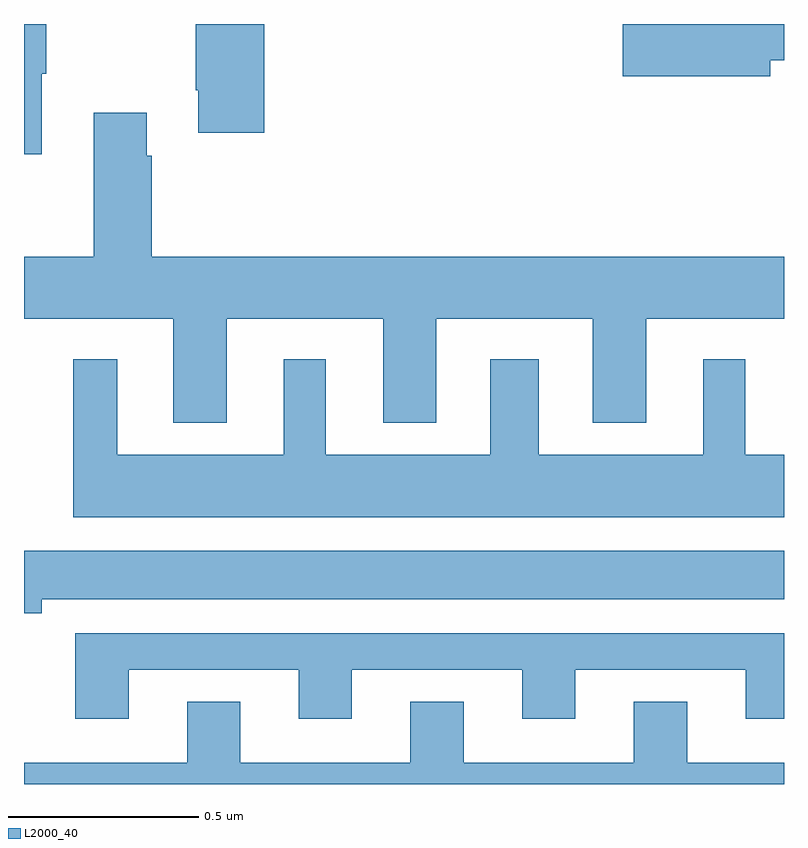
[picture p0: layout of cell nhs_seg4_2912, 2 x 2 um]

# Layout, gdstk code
import gdstk
lib = gdstk.Library(unit=1e-6, precision=1e-09)
def P(c, l, *ps):  # polygons
    for p in ps: c.add(gdstk.Polygon(p, *l))
L2000_40 = (2000, 40)

nhs_seg4_2912 = lib.new_cell('nhs_seg4_2912')
P(nhs_seg4_2912, L2000_40, [(146.632,826.9),(146.452,826.9),(146.452,826.726),(146.459,826.726),(146.459,826.614),(146.632,826.614)],
  [(146.047,826.769),(146.059,826.769),(146.059,826.9),(146,826.9),(146,826.557),(146.047,826.557)],
  [(147.964,826.804),(148,826.804),(148,826.9),(147.576,826.9),(147.576,826.762),(147.964,826.762)],
  [(146.533,826.124),(146.945,826.124),(146.945,825.851),(147.085,825.851),(147.085,826.124),(147.497,826.124),(147.497,825.851),(147.637,825.851),(147.637,826.124),(148,826.124),(148,826.288),(146.336,826.288),(146.336,826.553),(146.323,826.553),(146.323,826.666),(146.183,826.666),(146.183,826.288),(146,826.288),(146,826.124),(146.393,826.124),(146.393,825.851),(146.533,825.851)],
  [(148,825.766),(147.898,825.766),(147.898,826.018),(147.788,826.018),(147.788,825.766),(147.355,825.766),(147.355,826.018),(147.227,826.018),(147.227,825.766),(146.794,825.766),(146.794,826.018),(146.684,826.018),(146.684,825.766),(146.245,825.766),(146.245,826.018),(146.129,826.018),(146.129,825.602),(148,825.602)],
  [(146.047,825.386),(148,825.386),(148,825.514),(146,825.514),(146,825.35),(146.047,825.35)],
  [(146.275,825.201),(146.723,825.201),(146.723,825.072),(146.863,825.072),(146.863,825.201),(147.311,825.201),(147.311,825.072),(147.451,825.072),(147.451,825.201),(147.899,825.201),(147.899,825.072),(148,825.072),(148,825.297),(146.135,825.297),(146.135,825.072),(146.275,825.072)],
  [(148,824.956),(147.745,824.956),(147.745,825.116),(147.605,825.116),(147.605,824.956),(147.157,824.956),(147.157,825.116),(147.017,825.116),(147.017,824.956),(146.569,824.956),(146.569,825.116),(146.429,825.116),(146.429,824.956),(146,824.956),(146,824.9),(148,824.9)])

lib.write_gds('nhs_seg4_2912.gds')
